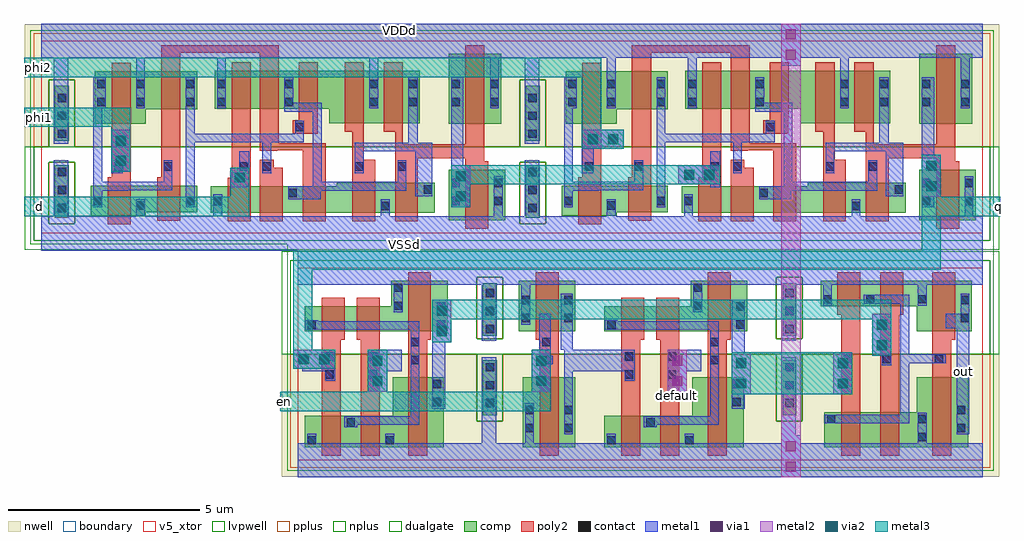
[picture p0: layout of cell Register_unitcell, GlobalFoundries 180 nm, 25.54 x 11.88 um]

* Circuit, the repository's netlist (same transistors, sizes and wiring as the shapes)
* NGSPICE file created from Register_unitcell.ext - technology: gf180mcuD

.subckt gf180mcu_fd_sc_mcu9t5v0__and2_1 A1 A2 VDD VSS Z VNW VPW
X0 VDD A2 a_36_201# VNW pfet_05v0 ad=0.5054p pd=2.57u as=0.2132p ps=1.34u w=0.82u l=0.5u
X1 a_244_201# A1 a_36_201# VPW nfet_05v0 ad=0.1056p pd=0.98u as=0.2904p ps=2.2u w=0.66u l=0.6u
X2 Z a_36_201# VSS VPW nfet_05v0 ad=0.5808p pd=3.52u as=0.3894p ps=2.06u w=1.32u l=0.6u
X3 Z a_36_201# VDD VNW pfet_05v0 ad=0.8052p pd=4.54u as=0.5054p ps=2.57u w=1.83u l=0.5u
X4 VSS A2 a_244_201# VPW nfet_05v0 ad=0.3894p pd=2.06u as=0.1056p ps=0.98u w=0.66u l=0.6u
X5 a_36_201# A1 VDD VNW pfet_05v0 ad=0.2132p pd=1.34u as=0.3608p ps=2.52u w=0.82u l=0.5u
.ends

.subckt gf180mcu_fd_sc_mcu9t5v0__latq_1 D E Q VDD VSS VNW VPW
X0 VSS a_1020_652# Q VPW nfet_05v0 ad=0.5808p pd=3.52u as=0.5808p ps=3.52u w=1.32u l=0.6u
X1 a_504_110# a_36_92# VDD VNW pfet_05v0 ad=0.44p pd=2.88u as=0.476p ps=2.18u w=1u l=0.5u
X2 VDD a_1020_652# Q VNW pfet_05v0 ad=0.8052p pd=4.54u as=0.8052p ps=4.54u w=1.83u l=0.5u
X3 a_1264_107# a_36_92# a_1020_652# VPW nfet_05v0 ad=0.263p pd=1.49u as=0.182p ps=1.22u w=0.7u l=0.6u
X4 VSS E a_36_92# VPW nfet_05v0 ad=0.263p pd=1.49u as=0.3476p ps=2.46u w=0.79u l=0.6u
X5 VSS a_1364_532# a_1264_107# VPW nfet_05v0 ad=0.2054p pd=1.31u as=0.263p ps=1.49u w=0.79u l=0.6u
X6 VDD E a_36_92# VNW pfet_05v0 ad=0.476p pd=2.18u as=0.6072p ps=3.64u w=1.38u l=0.5u
X7 VDD a_1364_532# a_1224_652# VNW pfet_05v0 ad=0.3588p pd=1.9u as=0.426p ps=2.08u w=1.38u l=0.5u
X8 a_872_652# D VDD VNW pfet_05v0 ad=0.12p pd=1.24u as=0.44p ps=2.88u w=1u l=0.5u
X9 a_1364_532# a_1020_652# VDD VNW pfet_05v0 ad=0.6072p pd=3.64u as=0.3588p ps=1.9u w=1.38u l=0.5u
X10 a_1020_652# a_504_110# a_872_107# VPW nfet_05v0 ad=0.182p pd=1.22u as=83.99999f ps=0.94u w=0.7u l=0.6u
X11 a_872_107# D VSS VPW nfet_05v0 ad=83.99999f pd=0.94u as=0.308p ps=2.28u w=0.7u l=0.6u
X12 a_1020_652# a_36_92# a_872_652# VNW pfet_05v0 ad=0.26p pd=1.52u as=0.12p ps=1.24u w=1u l=0.5u
X13 a_504_110# a_36_92# VSS VPW nfet_05v0 ad=0.308p pd=2.28u as=0.263p ps=1.49u w=0.7u l=0.6u
X14 a_1364_532# a_1020_652# VSS VPW nfet_05v0 ad=0.3476p pd=2.46u as=0.2054p ps=1.31u w=0.79u l=0.6u
X15 a_1224_652# a_504_110# a_1020_652# VNW pfet_05v0 ad=0.426p pd=2.08u as=0.26p ps=1.52u w=1u l=0.5u
.ends

.subckt DFF_2phase_1 VDDd PHI_2 PHI_1 D Q VSSd
Xgf180mcu_fd_sc_mcu9t5v0__latq_1_0 gf180mcu_fd_sc_mcu9t5v0__latq_1_1/Q PHI_2 Q VDDd
+ VSSd VDDd VSSd gf180mcu_fd_sc_mcu9t5v0__latq_1
Xgf180mcu_fd_sc_mcu9t5v0__latq_1_1 D PHI_1 gf180mcu_fd_sc_mcu9t5v0__latq_1_1/Q VDDd
+ VSSd VDDd VSSd gf180mcu_fd_sc_mcu9t5v0__latq_1
.ends

.subckt gf180mcu_fd_sc_mcu9t5v0__inv_1 I VDD VSS ZN VNW VPW
X0 ZN I VDD VNW pfet_05v0 ad=0.8052p pd=4.54u as=0.8052p ps=4.54u w=1.83u l=0.5u
X1 ZN I VSS VPW nfet_05v0 ad=0.5808p pd=3.52u as=0.5808p ps=3.52u w=1.32u l=0.6u
.ends

.subckt gf180mcu_fd_sc_mcu9t5v0__or2_1 A1 A2 VDD VSS Z VNW VPW
X0 a_255_756# A1 a_67_756# VNW pfet_05v0 ad=0.2379p pd=1.435u as=0.4026p ps=2.71u w=0.915u l=0.5u
X1 VSS A2 a_67_756# VPW nfet_05v0 ad=0.3828p pd=2.08u as=0.1716p ps=1.18u w=0.66u l=0.6u
X2 VDD A2 a_255_756# VNW pfet_05v0 ad=0.57645p pd=2.69u as=0.2379p ps=1.435u w=0.915u l=0.5u
X3 Z a_67_756# VSS VPW nfet_05v0 ad=0.5808p pd=3.52u as=0.3828p ps=2.08u w=1.32u l=0.6u
X4 Z a_67_756# VDD VNW pfet_05v0 ad=0.8052p pd=4.54u as=0.57645p ps=2.69u w=1.83u l=0.5u
X5 a_67_756# A1 VSS VPW nfet_05v0 ad=0.1716p pd=1.18u as=0.2904p ps=2.2u w=0.66u l=0.6u
.ends

.subckt Register_unitcell VDDd VSSd out phi2 phi1 d q en default
Xgf180mcu_fd_sc_mcu9t5v0__and2_1_1 q en VDDd VSSd gf180mcu_fd_sc_mcu9t5v0__or2_1_0/A2
+ VDDd VSSd gf180mcu_fd_sc_mcu9t5v0__and2_1
XDFF_2phase_1_0 VDDd phi2 phi1 d q VSSd DFF_2phase_1
Xgf180mcu_fd_sc_mcu9t5v0__inv_1_0 en VDDd VSSd gf180mcu_fd_sc_mcu9t5v0__inv_1_0/ZN
+ VDDd VSSd gf180mcu_fd_sc_mcu9t5v0__inv_1
Xgf180mcu_fd_sc_mcu9t5v0__or2_1_0 gf180mcu_fd_sc_mcu9t5v0__or2_1_0/A1 gf180mcu_fd_sc_mcu9t5v0__or2_1_0/A2
+ VDDd VSSd out VDDd VSSd gf180mcu_fd_sc_mcu9t5v0__or2_1
Xgf180mcu_fd_sc_mcu9t5v0__and2_1_0 gf180mcu_fd_sc_mcu9t5v0__inv_1_0/ZN default VDDd
+ VSSd gf180mcu_fd_sc_mcu9t5v0__or2_1_0/A1 VDDd VSSd gf180mcu_fd_sc_mcu9t5v0__and2_1
.ends

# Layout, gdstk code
from math import pi, radians
import gdstk
lib = gdstk.Library(unit=1e-6, precision=5e-09)
def R(c, l, rs):  # rectangles x0, y0, x1, y1
    for r in rs: c.add(gdstk.rectangle(r[:2], r[2:], *l))
def A(c, l, x, y, w, h, nx, ny, dx, dy):  # array of equal rectangles
    R(c, l, [(x+i*dx, y+j*dy, x+i*dx+w, y+j*dy+h) for i in range(nx) for j in range(ny)])
def P(c, l, *ps):  # polygons
    for p in ps: c.add(gdstk.Polygon(p, *l))
boundary = (0, 0)
nwell = (21, 0)
comp = (22, 0)
poly2 = (30, 0)
pplus = (31, 0)
nplus = (32, 0)
contact = (33, 0)
metal1 = (34, 0)
via1 = (35, 0)
metal2 = (36, 0)
via2 = (38, 0)
metal3 = (42, 0)
dualgate = (55, 0)
v5_xtor = (112, 1)
lvpwell = (204, 0)

gf180mcu_fd_sc_mcu9t5v0_ = lib.new_cell('gf180mcu_fd_sc_mcu9t5v0__latq_1')
R(gf180mcu_fd_sc_mcu9t5v0_, boundary, [(0,0,11.2,5.04)])
R(gf180mcu_fd_sc_mcu9t5v0_, nwell, [(-0.43,2.265,11.63,5.47)])
R(gf180mcu_fd_sc_mcu9t5v0_, comp, [(9.54,0.345,11.02,1.665), (9.54,2.865,10.92,4.695)])
P(gf180mcu_fd_sc_mcu9t5v0_, comp, [(0.18,0.46),(0.18,1.25),(2.96,1.25),(2.96,0.55),(1.62,0.55),(1.62,0.46)],
  [(0.28,2.865),(0.28,4.245),(2.96,4.245),(2.96,3.245),(1.62,3.245),(1.62,2.865)],
  [(6.42,2.88),(6.42,3.26),(3.42,3.26),(3.42,4.26),(8.78,4.26),(8.78,2.88)],
  [(3.32,0.535),(3.32,1.235),(6.62,1.235),(6.62,1.325),(9.18,1.325),(9.18,0.535)])
P(gf180mcu_fd_sc_mcu9t5v0_, poly2, [(0.62,0.24),(0.62,1.47),(0.72,1.47),(0.72,4.465),(1.22,4.465),(1.22,0.24)],
  [(3.76,0.315),(3.76,1.455),(3.86,1.455),(3.86,4.48),(4.36,4.48),(4.36,0.315)],
  [(4.6,0.315),(4.6,1.925),(4.96,1.925),(4.96,1.715),(5.2,1.715),(5.2,0.315)],
  [(5.46,2.6),(5.46,2.96),(5.62,2.96),(5.62,4.48),(6.12,4.48),(6.12,3.04),(6.115,3.04),(6.115,2.6)],
  [(5.72,0.315),(5.72,2.16),(5.055,2.16),(5.055,2.165),(4.6,2.165),(4.6,4.72),(2.52,4.72),(2.52,0.33),(1.92,0.33),(1.92,1.47),(2.02,1.47),(2.02,4.92),(5.1,4.92),(5.1,2.36),(6.32,2.36),(6.32,0.315)],
  [(7.02,0.315),(7.02,2.66),(6.82,2.66),(6.82,4.48),(7.32,4.48),(7.32,1.925),(7.62,1.925),(7.62,0.315)],
  [(9.98,0.125),(9.98,1.965),(8.74,1.965),(8.74,0.315),(8.14,0.315),(8.14,2.66),(7.84,2.66),(7.84,4.48),(8.34,4.48),(8.34,2.325),(9.98,2.325),(9.98,4.915),(10.48,4.915),(10.48,1.885),(10.58,1.885),(10.58,0.125)])
R(gf180mcu_fd_sc_mcu9t5v0_, pplus, [(-0.2,2.265,11.4,5.24)])
R(gf180mcu_fd_sc_mcu9t5v0_, nplus, [(-0.2,-0.2,11.4,2.265)])
R(gf180mcu_fd_sc_mcu9t5v0_, contact, [(7.77,0.605,7.99,0.825), (1.37,0.615,1.59,0.835), (0.25,0.74,0.47,0.96), (2.67,0.74,2.89,0.96), (3.39,0.74,3.61,0.96), (9.61,0.74,9.83,0.96), (10.73,0.74,10.95,0.96), (5.35,0.945,5.57,1.165), (8.89,1.035,9.11,1.255), (9.61,1.21,9.83,1.43), (10.73,1.21,10.95,1.43), (0.79,1.635,1.01,1.855), (2.09,1.635,2.31,1.855), (4.07,1.635,4.29,1.855), (4.67,1.635,4.89,1.855), (7.09,1.635,7.31,1.855), (8.21,1.635,8.43,1.855), (5.53,2.67,5.75,2.89), (0.35,3.33,0.57,3.55), (1.37,3.33,1.59,3.55), (2.67,3.33,2.89,3.55), (3.49,3.33,3.71,3.55), (5.25,3.33,5.47,3.55), (7.47,3.33,7.69,3.55), (8.49,3.33,8.71,3.55), (9.61,3.33,9.83,3.55), (10.63,3.33,10.85,3.55), (0.35,3.8,0.57,4.02), (1.37,3.8,1.59,4.02), (2.67,3.8,2.89,4.02), (3.49,3.8,3.71,4.02), (5.25,3.8,5.47,4.02), (7.47,3.8,7.69,4.02), (8.49,3.8,8.71,4.02), (9.61,3.8,9.83,4.02), (10.63,3.8,10.85,4.02)])
R(gf180mcu_fd_sc_mcu9t5v0_, metal1, [(9.605,0.68,9.93,4.08), (4.065,1.21,4.33,2.15), (0.71,1.575,1.015,2.71)])
P(gf180mcu_fd_sc_mcu9t5v0_, metal1, [(0.245,0.68),(0.245,4.08),(0.575,4.08),(0.575,3.27),(0.475,3.27),(0.475,1.345),(1.085,1.345),(1.085,1.355),(2.085,1.355),(2.085,1.915),(2.315,1.915),(2.315,1.125),(1.155,1.125),(1.155,1.115),(0.475,1.115),(0.475,0.68)],
  [(2.665,0.68),(2.665,4.08),(2.895,4.08),(2.895,2.61),(5.525,2.61),(5.525,2.95),(5.755,2.95),(5.755,2.38),(4.895,2.38),(4.895,1.575),(4.665,1.575),(4.665,2.38),(2.895,2.38),(2.895,0.68)],
  [(5.345,0.885),(5.345,1.225),(5.985,1.225),(5.985,3.18),(5.245,3.18),(5.245,4.08),(5.475,4.08),(5.475,3.41),(6.215,3.41),(6.215,1.345),(8.205,1.345),(8.205,1.915),(8.435,1.915),(8.435,1.115),(6.19,1.115),(6.19,0.885)],
  [(8.665,0.975),(8.665,2.145),(7.315,2.145),(7.315,1.575),(7.085,1.575),(7.085,2.375),(8.485,2.375),(8.485,4.08),(8.735,4.08),(8.735,2.365),(9.115,2.365),(9.115,0.975)],
  [(0,-0.45),(0,0.45),(1.365,0.45),(1.365,0.895),(1.595,0.895),(1.595,0.45),(3.385,0.45),(3.385,1.02),(3.615,1.02),(3.615,0.45),(7.765,0.45),(7.765,0.885),(7.995,0.885),(7.995,0.45),(10.725,0.45),(10.725,1.49),(10.955,1.49),(10.955,0.45),(11.2,0.45),(11.2,-0.45)],
  [(1.365,3.27),(1.365,4.59),(0,4.59),(0,5.49),(11.2,5.49),(11.2,4.59),(10.855,4.59),(10.855,3.27),(10.625,3.27),(10.625,4.59),(7.695,4.59),(7.695,3.27),(7.465,3.27),(7.465,4.59),(3.715,4.59),(3.715,3.27),(3.485,3.27),(3.485,4.59),(1.595,4.59),(1.595,3.27)])
R(gf180mcu_fd_sc_mcu9t5v0_, dualgate, [(-0.28,-0.28,11.48,5.32)])
R(gf180mcu_fd_sc_mcu9t5v0_, v5_xtor, [(0,0,11.2,5.04)])
R(gf180mcu_fd_sc_mcu9t5v0_, lvpwell, [(-0.43,-0.43,11.63,2.265)])
gf180mcu_fd_sc_mcu9t5v0_.add(gdstk.Label('D', (4.2,1.4), layer=34, texttype=10))
gf180mcu_fd_sc_mcu9t5v0_.add(gdstk.Label('E', (0.84,1.96), layer=34, texttype=10))
gf180mcu_fd_sc_mcu9t5v0_.add(gdstk.Label('Q', (9.8,2.52), layer=34, texttype=10))
gf180mcu_fd_sc_mcu9t5v0_.add(gdstk.Label('VDD', (5.6,5.49), layer=34, texttype=10))
gf180mcu_fd_sc_mcu9t5v0_.add(gdstk.Label('VSS', (5.6,-0.45), layer=34, texttype=10))
gf180mcu_fd_sc_mcu9t5v0_.add(gdstk.Label('& Vendor GLOBALFOUNDRIES', (0,2), layer=63, texttype=63))
gf180mcu_fd_sc_mcu9t5v0_.add(gdstk.Label('& Product GF018hv5v_green_sc9', (0,1.5), layer=63, texttype=63))
gf180mcu_fd_sc_mcu9t5v0_.add(gdstk.Label('& Version 2015q2v2', (0,1), layer=63, texttype=63))
gf180mcu_fd_sc_mcu9t5v0_.add(gdstk.Label('& Metric 1.00', (0,0.5), layer=63, texttype=63))
gf180mcu_fd_sc_mcu9t5v0_.add(gdstk.Label('VNW', (0.345,3.92), layer=21, texttype=10))
gf180mcu_fd_sc_mcu9t5v0_.add(gdstk.Label('VPW', (0.34,-0.085), layer=204, texttype=10))

c_gf180mcu_fd_sc_mcu9t5v0_ = lib.new_cell('gf180mcu_fd_sc_mcu9t5v0__filltie')
R(c_gf180mcu_fd_sc_mcu9t5v0_, boundary, [(0,0,1.12,5.04)])
R(c_gf180mcu_fd_sc_mcu9t5v0_, nwell, [(-0.43,2.265,1.55,5.47)])
R(c_gf180mcu_fd_sc_mcu9t5v0_, comp, [(0.36,0.41,0.72,1.785), (0.36,2.425,0.72,3.855)])
R(c_gf180mcu_fd_sc_mcu9t5v0_, pplus, [(0.2,0.25,0.88,1.865)])
P(c_gf180mcu_fd_sc_mcu9t5v0_, pplus, [(-0.2,2.265),(-0.2,5.24),(1.32,5.24),(1.32,2.265),(0.88,2.265),(0.88,4.015),(0.2,4.015),(0.2,2.265)])
P(c_gf180mcu_fd_sc_mcu9t5v0_, nplus, [(-0.2,-0.2),(-0.2,2.265),(0.2,2.265),(0.2,4.015),(0.88,4.015),(0.88,1.865),(0.2,1.865),(0.2,0.25),(0.88,0.25),(0.88,4.015),(0.88,2.265),(1.32,2.265),(1.32,-0.2)])
A(c_gf180mcu_fd_sc_mcu9t5v0_, contact, 0.43, 0.555, 0.22, 0.22, 1, 3, 0, 0.47)
A(c_gf180mcu_fd_sc_mcu9t5v0_, contact, 0.43, 2.495, 0.22, 0.22, 1, 3, 0, 0.47)
P(c_gf180mcu_fd_sc_mcu9t5v0_, metal1, [(0,-0.45),(0,0.45),(0.33,0.45),(0.33,1.91),(0.71,1.91),(0.71,0.45),(1.12,0.45),(1.12,-0.45)],
  [(0.33,2.34),(0.33,4.59),(0,4.59),(0,5.49),(1.12,5.49),(1.12,4.59),(0.71,4.59),(0.71,2.34)])
R(c_gf180mcu_fd_sc_mcu9t5v0_, dualgate, [(-0.28,-0.28,1.4,5.32)])
R(c_gf180mcu_fd_sc_mcu9t5v0_, v5_xtor, [(0,0,1.12,5.04)])
R(c_gf180mcu_fd_sc_mcu9t5v0_, lvpwell, [(-0.43,-0.43,1.55,2.265)])
c_gf180mcu_fd_sc_mcu9t5v0_.add(gdstk.Label('VSS', (0.56,-0.45), layer=34, texttype=10))
c_gf180mcu_fd_sc_mcu9t5v0_.add(gdstk.Label('VDD', (0.56,5.49), layer=34, texttype=10))
c_gf180mcu_fd_sc_mcu9t5v0_.add(gdstk.Label('& Vendor GLOBALFOUNDRIES', (0,2), layer=63, texttype=63))
c_gf180mcu_fd_sc_mcu9t5v0_.add(gdstk.Label('& Product GF018hv5v_green_sc9', (0,1.5), layer=63, texttype=63))
c_gf180mcu_fd_sc_mcu9t5v0_.add(gdstk.Label('& Version 2015q2v2', (0,1), layer=63, texttype=63))
c_gf180mcu_fd_sc_mcu9t5v0_.add(gdstk.Label('& Metric 1.00', (0,0.5), layer=63, texttype=63))

via_dev = lib.new_cell('via_dev')
R(via_dev, metal1, [(0,0,0.5,1.1)])
R(via_dev, via1, [(0.12,0.155,0.38,0.415), (0.12,0.685,0.38,0.945)])
R(via_dev, metal2, [(0,0,0.5,1.1)])
R(via_dev, via2, [(0.12,0.155,0.38,0.415), (0.12,0.685,0.38,0.945)])
R(via_dev, metal3, [(0,0,0.5,1.1)])

via_dev_6 = lib.new_cell('via_dev$6')
R(via_dev_6, metal1, [(0,0,0.5,0.5)])
R(via_dev_6, via1, [(0.12,0.12,0.38,0.38)])
R(via_dev_6, metal2, [(0,0,0.5,0.5)])
R(via_dev_6, via2, [(0.12,0.12,0.38,0.38)])
R(via_dev_6, metal3, [(0,0,0.5,0.5)])

dff_2phase_1 = lib.new_cell('DFF_2phase_1')
R(dff_2phase_1, metal3, [(25.405,-0.095,25.905,1.12), (7.31,0.405,7.81,0.665), (13.585,0.735,19.03,1.235), (4.19,2.165,4.69,2.345), (16.51,2.165,17.02,3.545)])
dff_2phase_1.add(gdstk.FlexPath([(4.69,2.495),(1.91,2.495)], 0.5, ends="flush", simple_path=True, layer=42, datatype=0))  # metal3
dff_2phase_1.add(gdstk.FlexPath([(17.02,3.795),(1.91,3.795)], 0.5, ends="flush", simple_path=True, layer=42, datatype=0))  # metal3
dff_2phase_1.add(gdstk.FlexPath([(7.81,0.155),(1.91,0.155)], 0.5, ends="flush", simple_path=True, layer=42, datatype=0))  # metal3
dff_2phase_1.add(gdstk.FlexPath([(27.45,0.155),(25.775,0.155)], 0.5, ends="flush", simple_path=True, layer=42, datatype=0))  # metal3
dff_2phase_1.add(gdstk.Reference(gf180mcu_fd_sc_mcu9t5v0_, (3.48,-0.545)))
dff_2phase_1.add(gdstk.Reference(c_gf180mcu_fd_sc_mcu9t5v0_, (14.68,-0.545)))
dff_2phase_1.add(gdstk.Reference(c_gf180mcu_fd_sc_mcu9t5v0_, (2.36,-0.545)))
dff_2phase_1.add(gdstk.Reference(gf180mcu_fd_sc_mcu9t5v0_, (15.8,-0.545)))
dff_2phase_1.add(gdstk.Reference(via_dev, (20.13,0.735), rotation=pi/2))
dff_2phase_1.add(gdstk.Reference(via_dev, (13.585,1.235), rotation=pi))
dff_2phase_1.add(gdstk.Reference(via_dev, (4.69,2.165), rotation=pi))
dff_2phase_1.add(gdstk.Reference(via_dev, (16.51,2.165), rotation=3*pi/2))
dff_2phase_1.add(gdstk.Reference(via_dev_6, (7.81,1.165), rotation=pi))
dff_2phase_1.add(gdstk.Reference(via_dev, (25.905,1.505), rotation=pi))
dff_2phase_1.add(gdstk.Label('VDDd', (4.37,4.775), layer=34, texttype=10))
dff_2phase_1.add(gdstk.Label('VSSd', (5.095,-0.825), layer=34, texttype=10))
dff_2phase_1.add(gdstk.Label('PHI_2', (2.005,3.795), layer=42, texttype=10))
dff_2phase_1.add(gdstk.Label('PHI_1', (2,2.495), layer=42, texttype=10))
dff_2phase_1.add(gdstk.Label('D', (2,0.155), layer=42, texttype=10))
dff_2phase_1.add(gdstk.Label('Q', (27.35,0.155), layer=42, texttype=10))

c_gf180mcu_fd_sc_mcu9t5v0__ = lib.new_cell('gf180mcu_fd_sc_mcu9t5v0__and2_1')
R(c_gf180mcu_fd_sc_mcu9t5v0__, boundary, [(0,0,4.48,5.04)])
R(c_gf180mcu_fd_sc_mcu9t5v0__, nwell, [(-0.43,2.265,4.91,5.47)])
P(c_gf180mcu_fd_sc_mcu9t5v0__, comp, [(2.48,2.865),(2.48,3.875),(0.18,3.875),(0.18,4.695),(3.82,4.695),(3.82,2.865)],
  [(2.44,0.345),(2.44,1.005),(0.18,1.005),(0.18,1.665),(3.92,1.665),(3.92,0.345)])
P(c_gf180mcu_fd_sc_mcu9t5v0__, poly2, [(0.62,0.785),(0.62,4.915),(1.12,4.915),(1.12,1.885),(1.22,1.885),(1.22,0.785)],
  [(1.54,0.785),(1.54,1.885),(1.64,1.885),(1.64,4.915),(2.14,4.915),(2.14,0.785)],
  [(2.88,0.125),(2.88,4.915),(3.38,4.915),(3.38,1.885),(3.48,1.885),(3.48,0.125)])
R(c_gf180mcu_fd_sc_mcu9t5v0__, pplus, [(-0.2,2.265,4.68,5.24)])
R(c_gf180mcu_fd_sc_mcu9t5v0__, nplus, [(-0.2,-0.2,4.68,2.265)])
R(c_gf180mcu_fd_sc_mcu9t5v0__, contact, [(2.51,0.415,2.73,0.635), (2.51,0.885,2.73,1.105), (3.63,0.905,3.85,1.125), (0.25,1.375,0.47,1.595), (3.63,1.375,3.85,1.595), (2.95,1.835,3.17,2.055), (0.715,2.21,0.935,2.43), (1.835,2.21,2.055,2.43), (2.95,2.305,3.17,2.525), (0.715,2.68,0.935,2.9), (1.835,2.68,2.055,2.9), (3.53,2.935,3.75,3.155), (3.53,3.405,3.75,3.625), (1.27,3.945,1.49,4.165), (0.25,4.405,0.47,4.625), (2.29,4.405,2.51,4.625)])
R(c_gf180mcu_fd_sc_mcu9t5v0__, metal1, [(3.51,0.845,3.855,3.685)])
P(c_gf180mcu_fd_sc_mcu9t5v0__, metal1, [(0.115,2.15),(0.115,2.71),(0.71,2.71),(0.71,2.96),(0.97,2.96),(0.97,2.15)],
  [(1.83,2.15),(1.83,2.96),(2.06,2.96),(2.06,2.71),(2.715,2.71),(2.715,2.15)],
  [(0.19,1.37),(0.19,1.625),(2.945,1.625),(2.945,3.885),(1.21,3.885),(1.21,4.17),(1.55,4.17),(1.55,4.115),(3.175,4.115),(3.175,1.395),(0.53,1.395),(0.53,1.37)],
  [(0,-0.45),(0,0.45),(2.505,0.45),(2.505,1.165),(2.735,1.165),(2.735,0.45),(4.48,0.45),(4.48,-0.45)],
  [(0.245,4.345),(0.245,4.59),(0,4.59),(0,5.49),(4.48,5.49),(4.48,4.59),(2.515,4.59),(2.515,4.345),(2.285,4.345),(2.285,4.59),(0.475,4.59),(0.475,4.345)])
R(c_gf180mcu_fd_sc_mcu9t5v0__, dualgate, [(-0.28,-0.28,4.76,5.32)])
R(c_gf180mcu_fd_sc_mcu9t5v0__, v5_xtor, [(0,0,4.48,5.04)])
R(c_gf180mcu_fd_sc_mcu9t5v0__, lvpwell, [(-0.43,-0.43,4.91,2.265)])
c_gf180mcu_fd_sc_mcu9t5v0__.add(gdstk.Label('A1', (0.84,2.52), layer=34, texttype=10))
c_gf180mcu_fd_sc_mcu9t5v0__.add(gdstk.Label('A2', (1.96,2.52), layer=34, texttype=10))
c_gf180mcu_fd_sc_mcu9t5v0__.add(gdstk.Label('VDD', (0.36,4.59), layer=34, texttype=10))
c_gf180mcu_fd_sc_mcu9t5v0__.add(gdstk.Label('VSS', (2.62,0.45), layer=34, texttype=10))
c_gf180mcu_fd_sc_mcu9t5v0__.add(gdstk.Label('Z', (3.64,2.52), layer=34, texttype=10))
c_gf180mcu_fd_sc_mcu9t5v0__.add(gdstk.Label('& Vendor GLOBALFOUNDRIES', (0,2), layer=63, texttype=63))
c_gf180mcu_fd_sc_mcu9t5v0__.add(gdstk.Label('& Product GF018hv5v_green_sc9', (0,1.5), layer=63, texttype=63))
c_gf180mcu_fd_sc_mcu9t5v0__.add(gdstk.Label('& Version 2015q2v2', (0,1), layer=63, texttype=63))
c_gf180mcu_fd_sc_mcu9t5v0__.add(gdstk.Label('& Metric 1.00', (0,0.5), layer=63, texttype=63))
c_gf180mcu_fd_sc_mcu9t5v0__.add(gdstk.Label('VNW', (0.345,3.92), layer=21, texttype=10))
c_gf180mcu_fd_sc_mcu9t5v0__.add(gdstk.Label('VPW', (0.34,-0.085), layer=204, texttype=10))

c_gf180mcu_fd_sc_mcu9t5v0___ = lib.new_cell('gf180mcu_fd_sc_mcu9t5v0__inv_1')
R(c_gf180mcu_fd_sc_mcu9t5v0___, boundary, [(0,0,2.24,5.04)])
R(c_gf180mcu_fd_sc_mcu9t5v0___, nwell, [(-0.43,2.265,2.67,5.47)])
R(c_gf180mcu_fd_sc_mcu9t5v0___, comp, [(0.18,0.345,1.66,1.665), (0.28,2.865,1.66,4.695)])
P(c_gf180mcu_fd_sc_mcu9t5v0___, poly2, [(0.62,0.125),(0.62,1.885),(0.72,1.885),(0.72,4.915),(1.22,4.915),(1.22,0.125)])
R(c_gf180mcu_fd_sc_mcu9t5v0___, pplus, [(-0.2,2.265,2.44,5.24)])
R(c_gf180mcu_fd_sc_mcu9t5v0___, nplus, [(-0.2,-0.2,2.44,2.265)])
R(c_gf180mcu_fd_sc_mcu9t5v0___, contact, [(0.25,0.74,0.47,0.96), (1.37,0.74,1.59,0.96), (0.25,1.21,0.47,1.43), (1.37,1.21,1.59,1.43), (0.79,1.835,1.01,2.055), (0.79,2.305,1.01,2.525), (0.35,3.61,0.57,3.83), (1.37,3.61,1.59,3.83), (0.35,4.08,0.57,4.3), (1.37,4.08,1.59,4.3)])
P(c_gf180mcu_fd_sc_mcu9t5v0___, metal1, [(0.71,1.21),(0.71,2.53),(1.07,2.53),(1.07,2.3),(1.015,2.3),(1.015,1.21)],
  [(1.27,0.68),(1.27,2.15),(1.365,2.15),(1.365,4.36),(1.595,4.36),(1.595,0.68)],
  [(0,-0.45),(0,0.45),(0.245,0.45),(0.245,1.49),(0.475,1.49),(0.475,0.45),(2.24,0.45),(2.24,-0.45)],
  [(0.345,3.55),(0.345,4.59),(0,4.59),(0,5.49),(2.24,5.49),(2.24,4.59),(0.575,4.59),(0.575,3.55)])
R(c_gf180mcu_fd_sc_mcu9t5v0___, dualgate, [(-0.28,-0.28,2.52,5.32)])
R(c_gf180mcu_fd_sc_mcu9t5v0___, v5_xtor, [(0,0,2.24,5.04)])
R(c_gf180mcu_fd_sc_mcu9t5v0___, lvpwell, [(-0.43,-0.43,2.67,2.265)])
c_gf180mcu_fd_sc_mcu9t5v0___.add(gdstk.Label('I', (0.84,1.96), layer=34, texttype=10))
c_gf180mcu_fd_sc_mcu9t5v0___.add(gdstk.Label('VDD', (1.12,5.49), layer=34, texttype=10))
c_gf180mcu_fd_sc_mcu9t5v0___.add(gdstk.Label('VSS', (1.12,-0.45), layer=34, texttype=10))
c_gf180mcu_fd_sc_mcu9t5v0___.add(gdstk.Label('ZN', (1.4,1.96), layer=34, texttype=10))
c_gf180mcu_fd_sc_mcu9t5v0___.add(gdstk.Label('& Vendor GLOBALFOUNDRIES', (0,2), layer=63, texttype=63))
c_gf180mcu_fd_sc_mcu9t5v0___.add(gdstk.Label('& Product GF018hv5v_green_sc9', (0,1.5), layer=63, texttype=63))
c_gf180mcu_fd_sc_mcu9t5v0___.add(gdstk.Label('& Version 2015q2v2', (0,1), layer=63, texttype=63))
c_gf180mcu_fd_sc_mcu9t5v0___.add(gdstk.Label('& Metric 1.00', (0,0.5), layer=63, texttype=63))
c_gf180mcu_fd_sc_mcu9t5v0___.add(gdstk.Label('VNW', (0.345,3.92), layer=21, texttype=10))
c_gf180mcu_fd_sc_mcu9t5v0___.add(gdstk.Label('VPW', (0.34,-0.085), layer=204, texttype=10))

c_gf180mcu_fd_sc_mcu9t5v0____ = lib.new_cell('gf180mcu_fd_sc_mcu9t5v0__or2_1')
R(c_gf180mcu_fd_sc_mcu9t5v0____, boundary, [(0,0,4.48,5.04)])
R(c_gf180mcu_fd_sc_mcu9t5v0____, nwell, [(-0.43,2.265,4.91,5.47)])
P(c_gf180mcu_fd_sc_mcu9t5v0____, comp, [(2.755,2.865),(2.755,3.78),(0.335,3.78),(0.335,4.695),(4.095,4.695),(4.095,2.865)],
  [(0.235,0.345),(0.235,1.005),(2.755,1.005),(2.755,1.665),(4.195,1.665),(4.195,0.345)])
P(c_gf180mcu_fd_sc_mcu9t5v0____, poly2, [(0.675,0.125),(0.675,1.225),(0.775,1.225),(0.775,4.915),(1.275,4.915),(1.275,0.125)],
  [(1.795,0.125),(1.795,4.915),(2.295,4.915),(2.295,1.225),(2.395,1.225),(2.395,0.125)],
  [(3.155,0.125),(3.155,4.915),(3.655,4.915),(3.655,1.885),(3.755,1.885),(3.755,0.125)])
R(c_gf180mcu_fd_sc_mcu9t5v0____, pplus, [(-0.2,2.265,4.68,5.24)])
R(c_gf180mcu_fd_sc_mcu9t5v0____, nplus, [(-0.2,-0.2,4.68,2.265)])
R(c_gf180mcu_fd_sc_mcu9t5v0____, contact, [(0.305,0.715,0.525,0.935), (1.425,0.715,1.645,0.935), (2.785,0.715,3.005,0.935), (3.905,0.74,4.125,0.96), (3.905,1.21,4.125,1.43), (0.845,2.275,1.065,2.495), (1.865,2.275,2.085,2.495), (3.225,2.275,3.445,2.495), (3.805,3.61,4.025,3.83), (0.405,3.85,0.625,4.07), (2.785,3.85,3.005,4.07), (3.805,4.08,4.025,4.3), (2.785,4.32,3.005,4.54)])
R(c_gf180mcu_fd_sc_mcu9t5v0____, metal1, [(1.83,1.21,2.09,2.555), (0.71,2.215,1.07,3.27)])
P(c_gf180mcu_fd_sc_mcu9t5v0____, metal1, [(1.365,0.71),(1.365,0.94),(2.32,0.94),(2.32,3.845),(0.345,3.845),(0.345,4.075),(2.55,4.075),(2.55,2.5),(3.505,2.5),(3.505,2.27),(2.55,2.27),(2.55,0.71)],
  [(3.9,0.68),(3.9,1.21),(3.51,1.21),(3.51,1.59),(3.8,1.59),(3.8,4.36),(4.13,4.36),(4.13,0.68)],
  [(0,-0.45),(0,0.45),(0.3,0.45),(0.3,0.995),(0.53,0.995),(0.53,0.45),(2.78,0.45),(2.78,0.995),(3.01,0.995),(3.01,0.45),(4.48,0.45),(4.48,-0.45)],
  [(2.78,3.79),(2.78,4.59),(0,4.59),(0,5.49),(4.48,5.49),(4.48,4.59),(3.01,4.59),(3.01,3.79)])
R(c_gf180mcu_fd_sc_mcu9t5v0____, dualgate, [(-0.28,-0.28,4.76,5.32)])
R(c_gf180mcu_fd_sc_mcu9t5v0____, v5_xtor, [(0,0,4.48,5.04)])
R(c_gf180mcu_fd_sc_mcu9t5v0____, lvpwell, [(-0.43,-0.43,4.91,2.265)])
c_gf180mcu_fd_sc_mcu9t5v0____.add(gdstk.Label('A1', (0.84,2.52), layer=34, texttype=10))
c_gf180mcu_fd_sc_mcu9t5v0____.add(gdstk.Label('A2', (1.96,1.96), layer=34, texttype=10))
c_gf180mcu_fd_sc_mcu9t5v0____.add(gdstk.Label('VDD', (2.24,5.49), layer=34, texttype=10))
c_gf180mcu_fd_sc_mcu9t5v0____.add(gdstk.Label('VSS', (2.24,-0.45), layer=34, texttype=10))
c_gf180mcu_fd_sc_mcu9t5v0____.add(gdstk.Label('Z', (3.64,1.4), layer=34, texttype=10))
c_gf180mcu_fd_sc_mcu9t5v0____.add(gdstk.Label('& Vendor GLOBALFOUNDRIES', (0,2), layer=63, texttype=63))
c_gf180mcu_fd_sc_mcu9t5v0____.add(gdstk.Label('& Product GF018hv5v_green_sc9', (0,1.5), layer=63, texttype=63))
c_gf180mcu_fd_sc_mcu9t5v0____.add(gdstk.Label('& Version 2015q2v2', (0,1), layer=63, texttype=63))
c_gf180mcu_fd_sc_mcu9t5v0____.add(gdstk.Label('& Metric 1.00', (0,0.5), layer=63, texttype=63))
c_gf180mcu_fd_sc_mcu9t5v0____.add(gdstk.Label('VNW', (0.345,3.92), layer=21, texttype=10))
c_gf180mcu_fd_sc_mcu9t5v0____.add(gdstk.Label('VPW', (0.34,-0.085), layer=204, texttype=10))

c_gf180mcu_fd_sc_mcu9t5v0_____ = lib.new_cell('gf180mcu_fd_sc_mcu9t5v0__filltie$1')
R(c_gf180mcu_fd_sc_mcu9t5v0_____, boundary, [(0,0,1.12,5.04)])
R(c_gf180mcu_fd_sc_mcu9t5v0_____, nwell, [(-0.43,2.265,1.55,5.47)])
R(c_gf180mcu_fd_sc_mcu9t5v0_____, comp, [(0.36,0.41,0.72,1.785), (0.36,2.425,0.72,3.855)])
R(c_gf180mcu_fd_sc_mcu9t5v0_____, pplus, [(0.2,0.25,0.88,1.865)])
P(c_gf180mcu_fd_sc_mcu9t5v0_____, pplus, [(-0.2,2.265),(-0.2,5.24),(1.32,5.24),(1.32,2.265),(0.88,2.265),(0.88,4.015),(0.2,4.015),(0.2,2.265)])
P(c_gf180mcu_fd_sc_mcu9t5v0_____, nplus, [(-0.2,-0.2),(-0.2,2.265),(0.2,2.265),(0.2,4.015),(0.88,4.015),(0.88,1.865),(0.2,1.865),(0.2,0.25),(0.88,0.25),(0.88,4.015),(0.88,2.265),(1.32,2.265),(1.32,-0.2)])
A(c_gf180mcu_fd_sc_mcu9t5v0_____, contact, 0.43, 0.555, 0.22, 0.22, 1, 3, 0, 0.47)
A(c_gf180mcu_fd_sc_mcu9t5v0_____, contact, 0.43, 2.495, 0.22, 0.22, 1, 3, 0, 0.47)
P(c_gf180mcu_fd_sc_mcu9t5v0_____, metal1, [(0,-0.45),(0,0.45),(0.33,0.45),(0.33,1.91),(0.71,1.91),(0.71,0.45),(1.12,0.45),(1.12,-0.45)],
  [(0.33,2.34),(0.33,4.59),(0,4.59),(0,5.49),(1.12,5.49),(1.12,4.59),(0.71,4.59),(0.71,2.34)])
R(c_gf180mcu_fd_sc_mcu9t5v0_____, dualgate, [(-0.28,-0.28,1.4,5.32)])
R(c_gf180mcu_fd_sc_mcu9t5v0_____, v5_xtor, [(0,0,1.12,5.04)])
R(c_gf180mcu_fd_sc_mcu9t5v0_____, lvpwell, [(-0.43,-0.43,1.55,2.265)])
c_gf180mcu_fd_sc_mcu9t5v0_____.add(gdstk.Label('VSS', (0.56,-0.45), layer=34, texttype=10))
c_gf180mcu_fd_sc_mcu9t5v0_____.add(gdstk.Label('VDD', (0.56,5.49), layer=34, texttype=10))
c_gf180mcu_fd_sc_mcu9t5v0_____.add(gdstk.Label('& Vendor GLOBALFOUNDRIES', (0,2), layer=63, texttype=63))
c_gf180mcu_fd_sc_mcu9t5v0_____.add(gdstk.Label('& Product GF018hv5v_green_sc9', (0,1.5), layer=63, texttype=63))
c_gf180mcu_fd_sc_mcu9t5v0_____.add(gdstk.Label('& Version 2015q2v2', (0,1), layer=63, texttype=63))
c_gf180mcu_fd_sc_mcu9t5v0_____.add(gdstk.Label('& Metric 1.00', (0,0.5), layer=63, texttype=63))

c_gf180mcu_fd_sc_mcu9t5v0______ = lib.new_cell('gf180mcu_fd_sc_mcu9t5v0__filltie$2')
R(c_gf180mcu_fd_sc_mcu9t5v0______, boundary, [(0,0,1.12,5.04)])
R(c_gf180mcu_fd_sc_mcu9t5v0______, nwell, [(-0.43,2.265,1.55,5.47)])
R(c_gf180mcu_fd_sc_mcu9t5v0______, comp, [(0.36,0.41,0.72,1.785), (0.36,2.425,0.72,3.855)])
R(c_gf180mcu_fd_sc_mcu9t5v0______, pplus, [(0.2,0.25,0.88,1.865)])
P(c_gf180mcu_fd_sc_mcu9t5v0______, pplus, [(-0.2,2.265),(-0.2,5.24),(1.32,5.24),(1.32,2.265),(0.88,2.265),(0.88,4.015),(0.2,4.015),(0.2,2.265)])
P(c_gf180mcu_fd_sc_mcu9t5v0______, nplus, [(-0.2,-0.2),(-0.2,2.265),(0.2,2.265),(0.2,4.015),(0.88,4.015),(0.88,1.865),(0.2,1.865),(0.2,0.25),(0.88,0.25),(0.88,4.015),(0.88,2.265),(1.32,2.265),(1.32,-0.2)])
A(c_gf180mcu_fd_sc_mcu9t5v0______, contact, 0.43, 0.555, 0.22, 0.22, 1, 3, 0, 0.47)
A(c_gf180mcu_fd_sc_mcu9t5v0______, contact, 0.43, 2.495, 0.22, 0.22, 1, 3, 0, 0.47)
P(c_gf180mcu_fd_sc_mcu9t5v0______, metal1, [(0,-0.45),(0,0.45),(0.33,0.45),(0.33,1.91),(0.71,1.91),(0.71,0.45),(1.12,0.45),(1.12,-0.45)],
  [(0.33,2.34),(0.33,4.59),(0,4.59),(0,5.49),(1.12,5.49),(1.12,4.59),(0.71,4.59),(0.71,2.34)])
R(c_gf180mcu_fd_sc_mcu9t5v0______, dualgate, [(-0.28,-0.28,1.4,5.32)])
R(c_gf180mcu_fd_sc_mcu9t5v0______, v5_xtor, [(0,0,1.12,5.04)])
R(c_gf180mcu_fd_sc_mcu9t5v0______, lvpwell, [(-0.43,-0.43,1.55,2.265)])
c_gf180mcu_fd_sc_mcu9t5v0______.add(gdstk.Label('VSS', (0.56,-0.45), layer=34, texttype=10))
c_gf180mcu_fd_sc_mcu9t5v0______.add(gdstk.Label('VDD', (0.56,5.49), layer=34, texttype=10))
c_gf180mcu_fd_sc_mcu9t5v0______.add(gdstk.Label('& Vendor GLOBALFOUNDRIES', (0,2), layer=63, texttype=63))
c_gf180mcu_fd_sc_mcu9t5v0______.add(gdstk.Label('& Product GF018hv5v_green_sc9', (0,1.5), layer=63, texttype=63))
c_gf180mcu_fd_sc_mcu9t5v0______.add(gdstk.Label('& Version 2015q2v2', (0,1), layer=63, texttype=63))
c_gf180mcu_fd_sc_mcu9t5v0______.add(gdstk.Label('& Metric 1.00', (0,0.5), layer=63, texttype=63))

via_dev_2 = lib.new_cell('via_dev$2')
R(via_dev_2, metal1, [(0,0,0.5,1.1)])
R(via_dev_2, via1, [(0.12,0.155,0.38,0.415), (0.12,0.685,0.38,0.945)])
R(via_dev_2, metal2, [(0,0,0.5,1.1)])
R(via_dev_2, via2, [(0.12,0.155,0.38,0.415), (0.12,0.685,0.38,0.945)])
R(via_dev_2, metal3, [(0,0,0.5,1.1)])

via_dev_3 = lib.new_cell('via_dev$3')
R(via_dev_3, metal1, [(0,0,0.5,1.1)])
R(via_dev_3, via1, [(0.12,0.155,0.38,0.415), (0.12,0.685,0.38,0.945)])
R(via_dev_3, metal2, [(0,0,0.5,1.1)])

register_unitcell = lib.new_cell('Register_unitcell')
R(register_unitcell, metal1, [(22.35,-4.09,23.11,-3.53)])
R(register_unitcell, metal2, [(24.825,-4.84,25.325,-4.63)])
R(register_unitcell, metal3, [(26.505,-4.695,29.165,-3.595)])
R(register_unitcell, dualgate, [(14.875,-1.1,33.355,-0.76)])
register_unitcell.add(gdstk.FlexPath([(28.055,-5.77),(28.055,5.01)], 0.5, ends="flush", simple_path=True, layer=36, datatype=0))  # metal2
register_unitcell.add(gdstk.FlexPath([(14.69,-4.88),(21.77,-4.88)], 0.5, ends="flush", simple_path=True, layer=42, datatype=0))  # metal3
register_unitcell.add(gdstk.FlexPath([(19.165,-2.475),(30.685,-2.475)], 0.5, ends="flush", simple_path=True, layer=42, datatype=0))  # metal3
register_unitcell.add(gdstk.FlexPath([(15.275,-3.53),(15.275,-1.18),(31.73,-1.18),(31.73,-0.03)], 0.5, ends="flush", simple_path=True, layer=42, datatype=0))  # metal3
register_unitcell.add(gdstk.Reference(dff_2phase_1, (6.075,0.065)))
register_unitcell.add(gdstk.Reference(c_gf180mcu_fd_sc_mcu9t5v0__, (15.155,-1.38), x_reflection=True))
register_unitcell.add(gdstk.Reference(c_gf180mcu_fd_sc_mcu9t5v0___, (20.755,-1.38), x_reflection=True))
register_unitcell.add(gdstk.Reference(c_gf180mcu_fd_sc_mcu9t5v0____, (28.595,-1.38), x_reflection=True))
register_unitcell.add(gdstk.Reference(c_gf180mcu_fd_sc_mcu9t5v0__, (22.995,-1.38), x_reflection=True))
register_unitcell.add(gdstk.Reference(c_gf180mcu_fd_sc_mcu9t5v0_____, (19.635,-1.38), x_reflection=True))
register_unitcell.add(gdstk.Reference(c_gf180mcu_fd_sc_mcu9t5v0______, (27.475,-1.38), x_reflection=True))
register_unitcell.add(gdstk.Reference(via_dev_2, (16.985,-4.63)))
register_unitcell.add(gdstk.Reference(via_dev_2, (21.27,-4.63)))
register_unitcell.add(gdstk.Reference(via_dev_2, (29.165,-4.695)))
register_unitcell.add(gdstk.Reference(via_dev_2, (26.505,-4.695)))
register_unitcell.add(gdstk.Reference(via_dev_2, (30.185,-3.69)))
register_unitcell.add(gdstk.Reference(via_dev_2, (18.665,-3.325)))
register_unitcell.add(gdstk.Reference(via_dev_2, (16.125,-4.03), rotation=pi/2))
register_unitcell.add(gdstk.Reference(via_dev_3, (24.825,-4.63)))
register_unitcell.add(gdstk.Reference(via_dev_3, (27.805,-6.87)))
register_unitcell.add(gdstk.Reference(via_dev_3, (27.805,3.91)))
register_unitcell.add(gdstk.Label('VDDd', (17.81,4.84), layer=34, texttype=10))
register_unitcell.add(gdstk.Label('VSSd', (17.95,-0.76), layer=34, texttype=10))
register_unitcell.add(gdstk.Label('out', (32.56,-4.095), layer=34, texttype=10))
register_unitcell.add(gdstk.Label('phi2', (8.36,3.86), layer=42, texttype=10))
register_unitcell.add(gdstk.Label('phi1', (8.38,2.56), layer=42, texttype=10))
register_unitcell.add(gdstk.Label('d', (8.38,0.22), layer=42, texttype=10))
register_unitcell.add(gdstk.Label('q', (33.475,0.22), layer=42, texttype=10))
register_unitcell.add(gdstk.Label('en', (14.79,-4.88), layer=42, texttype=10))
register_unitcell.add(gdstk.Label('default', (25.07,-4.735), layer=36, texttype=10))

lib.write_gds('Register_unitcell.gds')
